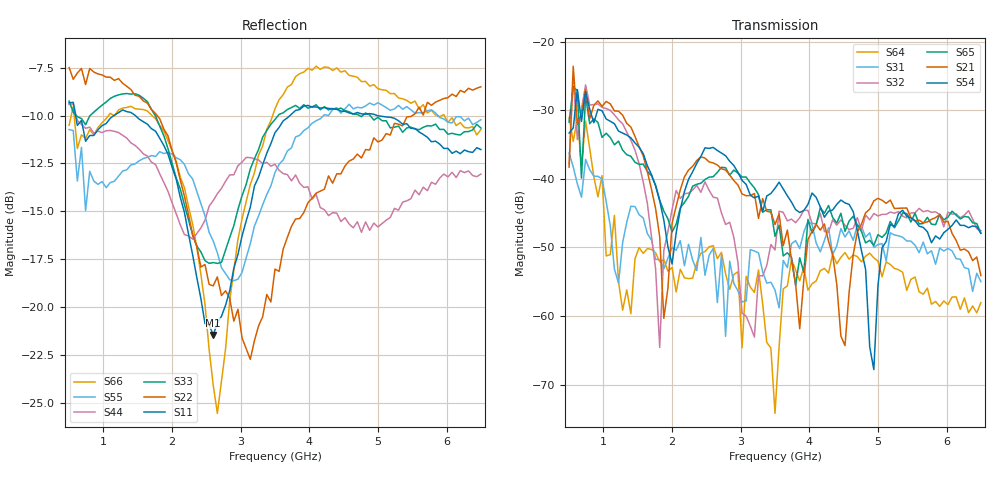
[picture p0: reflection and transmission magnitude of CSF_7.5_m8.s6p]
!Keysight Technologies,M9804A,MY58100912,A.14.10.03
!Date: Thursday, April 27, 2023 10:28:33
!Correction: S11(C  6-Port  )
!S12(C  6-Port  )
!S13(C  6-Port  )
!S14(C  6-Port  )
!S15(C  6-Port  )
!S16(C  6-Port  )
!S21(C  6-Port  )
!S22(C  6-Port  )
!S23(C  6-Port  )
!S24(C  6-Port  )
!S25(C  6-Port  )
!S26(C  6-Port  )
!S31(C  6-Port  )
!S32(C  6-Port  )
!S33(C  6-Port  )
!S34(C  6-Port  )
!S35(C  6-Port  )
!S36(C  6-Port  )
!S41(C  6-Port  )
!S42(C  6-Port  )
!S43(C  6-Port  )
!S44(C  6-Port  )
!S45(C  6-Port  )
!S46(C  6-Port  )
!S51(C  6-Port  )
!S52(C  6-Port  )
!S53(C  6-Port  )
!S54(C  6-Port  )
!S55(C  6-Port  )
!S56(C  6-Port  )
!S61(C  6-Port  )
!S62(C  6-Port  )
!S63(C  6-Port  )
!S64(C  6-Port  )
!S65(C  6-Port  )
!S66(C  6-Port  )
!S6P File: Measurement: :
# Hz S  RI  R 50
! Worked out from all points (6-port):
!   101 points, 500 MHz to 6.5 GHz, reference 50 ohm
!   strongest paths, dB at 500 MHz, 2 GHz, 3.5 GHz, 5 GHz, 6.5 GHz:
!     S54: -33.3, -52.4, -41.4, -55.6, -47.9
!     S21: -38.3, -46.5, -46.7, -42.8, -54.1
!     S65: -31.7, -47.7, -48.4, -48.1, -47.9
!     S32: -37.9, -44.5, -50.4, -45.4, -47.5
!     S31: -36.2, -50.0, -56.2, -49.6, -55.0
!     S64: -31.0, -52.9, -74.2, -52.0, -58.0
!   lowest |S11| = -21.4 dB at 2.6 GHz (marker M1), VSWR 1.19, Z = 42.5 + j2.3 ohm
!   |S11| at or under -10 dB: 594.2 MHz to 1.152 GHz (558.1 MHz wide, 63.9 % of centre); 1.464 GHz to 3.718 GHz (2.254 GHz wide, 87 % of centre); 4.989 GHz to end of sweep
